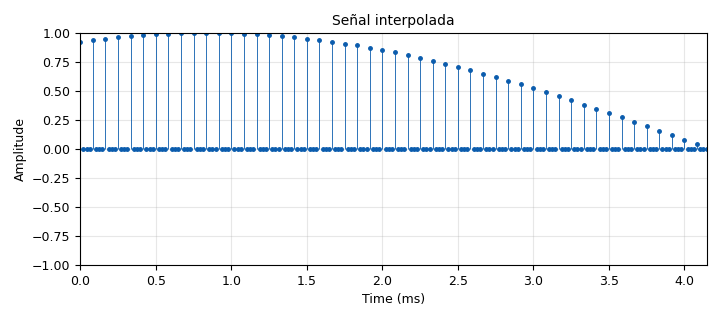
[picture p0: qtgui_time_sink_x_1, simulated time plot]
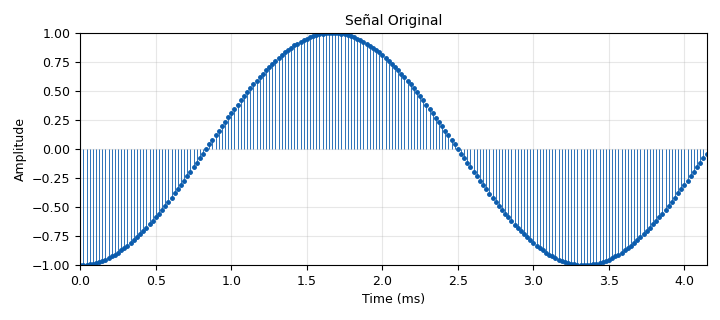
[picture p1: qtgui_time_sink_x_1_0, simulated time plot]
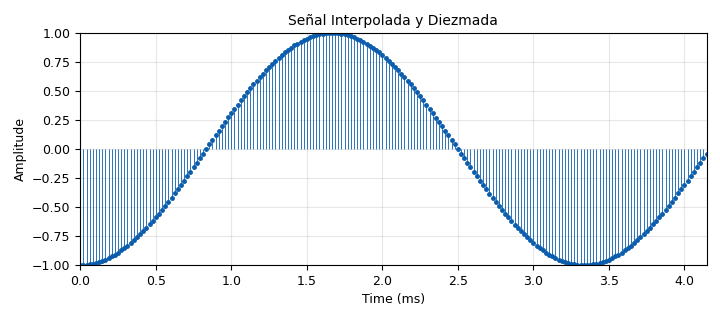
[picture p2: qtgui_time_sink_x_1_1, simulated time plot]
options:
  parameters:
    author: user
    generate_options: qt_gui
    id: ej11b
    output_language: python
    title: Not titled yet
  states: {}

blocks:
- name: samp_rate
  id: variable
  parameters:
    value: '48000'
  states: {}
- name: analog_sig_source_x_0_0
  id: analog_sig_source_x
  parameters:
    amp: '1'
    freq: '300'
    offset: '0'
    phase: '0'
    samp_rate: samp_rate
    type: float
    waveform: analog.GR_SIN_WAVE
  states: {}
- name: blocks_throttle_0_0
  id: blocks_throttle
  parameters:
    samples_per_second: samp_rate
    type: float
  states: {}
- name: blocks_throttle_0_0_0
  id: blocks_throttle
  parameters:
    samples_per_second: samp_rate
    type: float
  states: {}
- name: blocks_throttle_0_0_0_0
  id: blocks_throttle
  parameters:
    samples_per_second: samp_rate
    type: float
  states: {}
- name: fir_filter_xxx_0_0
  id: fir_filter_xxx
  parameters:
    decim: '4'
    taps: '1'
    type: fff
  states: {}
- name: interp_fir_filter_xxx_0_0
  id: interp_fir_filter_xxx
  parameters:
    interp: '4'
    taps: '1'
    type: fff
  states: {}
- name: qtgui_time_sink_x_1
  id: qtgui_time_sink_x
  parameters:
    ctrlpanel: 'True'
    marker1: '0'
    name: Señal interpolada
    size: '200'
    srate: samp_rate
    stemplot: 'True'
    type: float
  states: {}
- name: qtgui_time_sink_x_1_0
  id: qtgui_time_sink_x
  parameters:
    ctrlpanel: 'True'
    marker1: '0'
    name: Señal Original
    size: '200'
    srate: samp_rate
    stemplot: 'True'
    type: float
  states: {}
- name: qtgui_time_sink_x_1_1
  id: qtgui_time_sink_x
  parameters:
    ctrlpanel: 'True'
    grid: 'True'
    marker1: '0'
    name: Señal Interpolada y Diezmada
    size: '200'
    srate: samp_rate
    stemplot: 'True'
    type: float
  states: {}

connections:
- [analog_sig_source_x_0_0, '0', blocks_throttle_0_0_0, '0']
- [analog_sig_source_x_0_0, '0', interp_fir_filter_xxx_0_0, '0']
- [blocks_throttle_0_0, '0', qtgui_time_sink_x_1_1, '0']
- [blocks_throttle_0_0_0, '0', qtgui_time_sink_x_1_0, '0']
- [blocks_throttle_0_0_0_0, '0', qtgui_time_sink_x_1, '0']
- [fir_filter_xxx_0_0, '0', blocks_throttle_0_0, '0']
- [interp_fir_filter_xxx_0_0, '0', blocks_throttle_0_0_0_0, '0']
- [interp_fir_filter_xxx_0_0, '0', fir_filter_xxx_0_0, '0']

metadata:
  file_format: 1
  grc_version: 3.10.12.0
